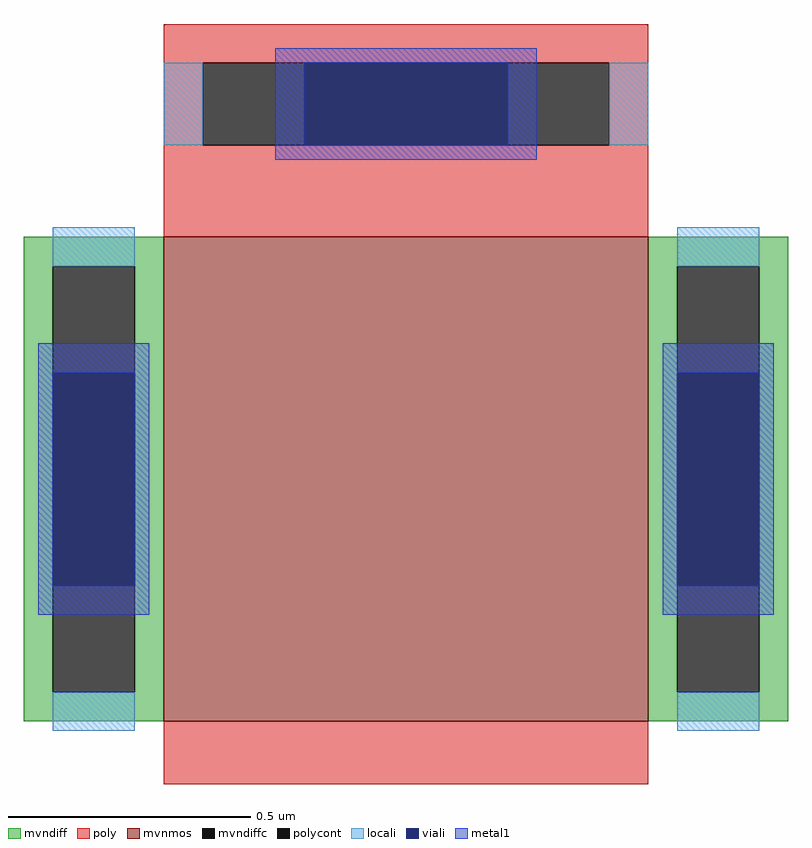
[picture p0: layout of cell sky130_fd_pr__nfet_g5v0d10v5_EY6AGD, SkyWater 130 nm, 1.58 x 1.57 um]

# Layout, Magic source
magic
tech sky130A
magscale 1 2
<< mvnmos >>
rect -100 -131 100 69
<< mvndiff >>
rect -158 57 -100 69
rect -158 -119 -146 57
rect -112 -119 -100 57
rect -158 -131 -100 -119
rect 100 57 158 69
rect 100 -119 112 57
rect 146 -119 158 57
rect 100 -131 158 -119
<< mvndiffc >>
rect -146 -119 -112 57
rect 112 -119 146 57
<< poly >>
rect -100 141 100 157
rect -100 107 -84 141
rect 84 107 100 141
rect -100 69 100 107
rect -100 -157 100 -131
<< polycont >>
rect -84 107 84 141
<< locali >>
rect -100 107 -84 141
rect 84 107 100 141
rect -146 57 -112 73
rect -146 -135 -112 -119
rect 112 57 146 73
rect 112 -135 146 -119
<< viali >>
rect -42 107 42 141
rect -146 -75 -112 13
rect 112 -75 146 13
<< metal1 >>
rect -54 141 54 147
rect -54 107 -42 141
rect 42 107 54 141
rect -54 101 54 107
rect -152 13 -106 25
rect -152 -75 -146 13
rect -112 -75 -106 13
rect -152 -87 -106 -75
rect 106 13 152 25
rect 106 -75 112 13
rect 146 -75 152 13
rect 106 -87 152 -75
<< properties >>
string gencell sky130_fd_pr__nfet_g5v0d10v5
string library sky130
string parameters w 1 l 1 m 1 nf 1 diffcov 100 polycov 100 guard 0 glc 1 grc 1 gtc 1 gbc 1 tbcov 100 rlcov 100 topc 1 botc 0 poverlap 0 doverlap 1 lmin 0.50 wmin 0.42 compatible {sky130_fd_pr__nfet_01v8 sky130_fd_pr__nfet_01v8_lvt  sky130_fd_bs_flash__special_sonosfet_star  sky130_fd_pr__nfet_g5v0d10v5 sky130_fd_pr__nfet_05v0_nvt  sky130_fd_pr__nfet_03v3_nvt} full_metal 1 viasrc 50 viadrn 50 viagate 50 viagb 0 viagr 0 viagl 0 viagt 0
<< end >>
